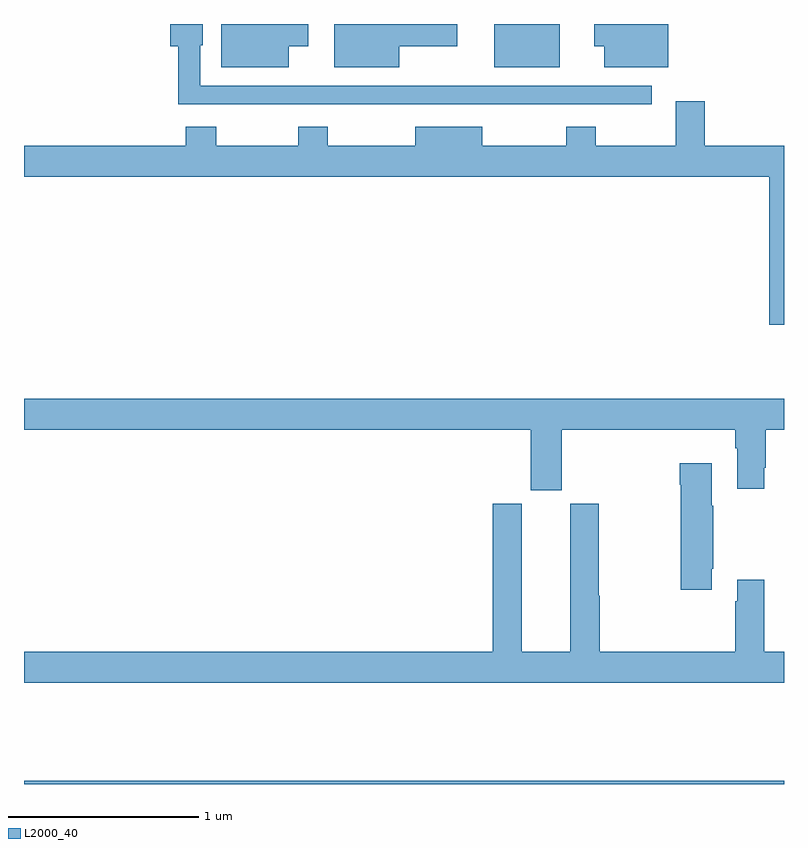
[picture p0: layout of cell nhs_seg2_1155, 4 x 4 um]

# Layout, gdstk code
import gdstk
lib = gdstk.Library(unit=1e-6, precision=1e-09)
def R(c, l, rs):  # rectangles x0, y0, x1, y1
    for r in rs: c.add(gdstk.rectangle(r[:2], r[2:], *l))
def P(c, l, *ps):  # polygons
    for p in ps: c.add(gdstk.Polygon(p, *l))
L2000_40 = (2000, 40)

nhs_seg2_1155 = lib.new_cell('nhs_seg2_1155')
R(nhs_seg2_1155, L2000_40, [(171,617.8,175,617.816), (173.474,621.572,173.821,621.8)])
P(nhs_seg2_1155, L2000_40, [(172.355,621.378),(172.687,621.378),(172.687,621.377),(172.964,621.377),(172.964,621.378),(173.509,621.378),(173.509,621.377),(173.765,621.377),(173.765,621.378),(174.304,621.378),(174.304,621.474),(173.378,621.474),(173.378,621.476),(173.071,621.476),(173.071,621.474),(171.927,621.474),(171.927,621.687),(171.94,621.687),(171.94,621.8),(171.77,621.8),(171.77,621.683),(171.811,621.683),(171.811,621.378),(172.099,621.378),(172.099,621.377),(172.355,621.377)],
  [(174.391,621.8),(174.002,621.8),(174.002,621.683),(174.053,621.683),(174.053,621.572),(174.391,621.572)],
  [(172.393,621.683),(172.495,621.683),(172.495,621.8),(172.037,621.8),(172.037,621.572),(172.393,621.572)],
  [(172.975,621.683),(173.281,621.683),(173.281,621.8),(172.634,621.8),(172.634,621.572),(172.975,621.572)],
  [(175,621.16),(174.584,621.16),(174.584,621.394),(174.431,621.394),(174.431,621.16),(174.009,621.16),(174.009,621.259),(173.854,621.259),(173.854,621.16),(173.413,621.16),(173.413,621.259),(173.06,621.259),(173.06,621.16),(172.599,621.16),(172.599,621.259),(172.444,621.259),(172.444,621.16),(172.011,621.16),(172.011,621.259),(171.851,621.259),(171.851,621.16),(171,621.16),(171,620.996),(174.923,620.996),(174.923,620.217),(175,620.217)],
  [(173.83,619.664),(174.743,619.664),(174.743,619.568),(174.755,619.568),(174.755,619.353),(174.895,619.353),(174.895,619.465),(174.903,619.465),(174.903,619.664),(175,619.664),(175,619.828),(171,619.828),(171,619.664),(173.666,619.664),(173.666,619.347),(173.83,619.347)],
  [(174.619,618.934),(174.627,618.934),(174.627,619.265),(174.619,619.265),(174.619,619.489),(174.452,619.489),(174.452,619.376),(174.457,619.376),(174.457,618.822),(174.619,618.822)],
  [(175,618.496),(174.895,618.496),(174.895,618.874),(174.755,618.874),(174.755,618.761),(174.743,618.761),(174.743,618.496),(174.029,618.496),(174.029,618.792),(174.024,618.792),(174.024,619.275),(173.876,619.275),(173.876,618.496),(173.62,618.496),(173.62,619.275),(173.468,619.275),(173.468,618.496),(171,618.496),(171,618.332),(175,618.332)])

lib.write_gds('nhs_seg2_1155.gds')
